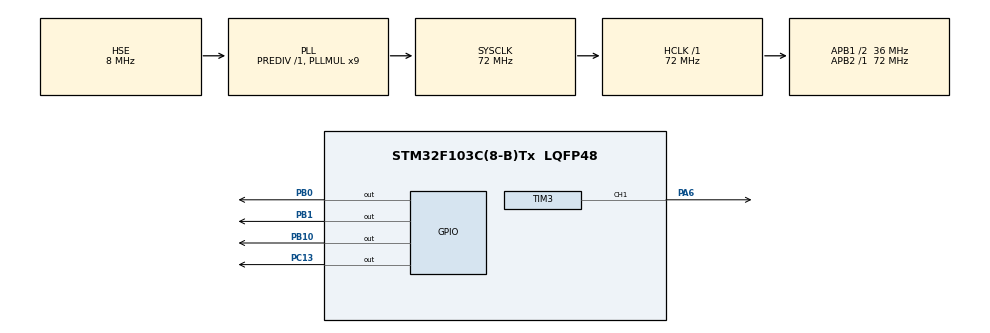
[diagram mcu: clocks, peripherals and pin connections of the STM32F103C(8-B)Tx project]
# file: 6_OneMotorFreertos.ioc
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FREERTOS.Tasks01=LedTask,8,128,Start_LedTask,Default,NULL,Dynamic,NULL,NULL;MotorTask,24,256,Start_MotorTask,Default,NULL,Dynamic,NULL,NULL;UartTask,32,256,Start_UartTask,Default,NULL,Dynamic,NULL,NULL
Mcu.Family=STM32F1
Mcu.Name=STM32F103C(8-B)Tx
Mcu.Package=LQFP48
NVIC.PriorityGroup=NVIC_PRIORITYGROUP_4
NVIC.TIM3_IRQn=true\:5\:0\:false\:false\:true\:true\:true\:true\:true
NVIC.TIM4_IRQn=true\:15\:0\:false\:false\:true\:false\:false\:true\:true
NVIC.TimeBase=TIM4_IRQn
NVIC.TimeBaseIP=TIM4
PA13.Mode=Serial_Wire
PA13.Signal=SYS_JTMS-SWDIO
PA14.Mode=Serial_Wire
PA14.Signal=SYS_JTCK-SWCLK
PA6.Signal=S_TIM3_CH1
PB0.PinState=GPIO_PIN_SET
PB0.Signal=GPIO_Output
PB1.PinState=GPIO_PIN_SET
PB1.Signal=GPIO_Output
PB10.PinState=GPIO_PIN_SET
PB10.Signal=GPIO_Output
PC13-TAMPER-RTC.PinState=GPIO_PIN_SET
PC13-TAMPER-RTC.Signal=GPIO_Output
PD0-OSC_IN.Mode=HSE-External-Oscillator
PD0-OSC_IN.Signal=RCC_OSC_IN
PD1-OSC_OUT.Mode=HSE-External-Oscillator
PD1-OSC_OUT.Signal=RCC_OSC_OUT
ProjectManager.HeapSize=0x200
ProjectManager.StackSize=0x400
ProjectManager.TargetToolchain=MDK-ARM V5.32
RCC.AHBFreq_Value=72000000
RCC.APB1CLKDivider=RCC_HCLK_DIV2
RCC.APB1Freq_Value=36000000
RCC.APB1TimFreq_Value=72000000
RCC.APB2Freq_Value=72000000
RCC.APB2TimFreq_Value=72000000
RCC.HCLKFreq_Value=72000000
RCC.PLLMUL=RCC_PLL_MUL9
RCC.PLLSourceVirtual=RCC_PLLSOURCE_HSE
RCC.SYSCLKFreq_VALUE=72000000
RCC.SYSCLKSource=RCC_SYSCLKSOURCE_PLLCLK
RCC.USBFreq_Value=72000000
SH.S_TIM3_CH1.0=TIM3_CH1,PWM Generation1 CH1
TIM3.Channel-PWM\ Generation1\ CH1=TIM_CHANNEL_1
TIM3.Period=1000-1
TIM3.Prescaler=72-1
VP_FREERTOS_VS_CMSIS_V2.Mode=CMSIS_V2
VP_SYS_VS_tim4.Mode=TIM4
board=custom

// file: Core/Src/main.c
/* USER CODE BEGIN Header */
/**
  ******************************************************************************
  * @file           : main.c
  * @brief          : Main program body
  ******************************************************************************
  * @attention
  *
  * Copyright (c) 2025 STMicroelectronics.
  * All rights reserved.
  *
  * This software is licensed under terms that can be found in the LICENSE file
  * in the root directory of this software component.
  * If no LICENSE file comes with this software, it is provided AS-IS.
  *
  ******************************************************************************
  */
/* USER CODE END Header */
#include "main.h"
#include "cmsis_os.h"
#include "tim.h"
#include "gpio.h"

/* USER CODE BEGIN Includes */

#include "motor.h"

/* USER CODE END Includes */

/* USER CODE BEGIN PV */

Motor_t motor1;

/* USER CODE END PV */

void SystemClock_Config(void);
void MX_FREERTOS_Init(void);

int main(void)
{

  /* MCU Configuration--------------------------------------------------------*/

  /* Reset of all peripherals, Initializes the Flash interface and the Systick. */
  HAL_Init();

  /* Configure the system clock */
  SystemClock_Config();

  /* Initialize all configured peripherals */
  MX_GPIO_Init();
  MX_TIM3_Init();
  /* USER CODE BEGIN 2 */

  // HAL_TIM_PWM_Start(&htim3, TIM_CHANNEL_1);

      Motor_Init(&motor1, &htim3, TIM_CHANNEL_1,
               GPIOB, GPIO_PIN_0, GPIOB, GPIO_PIN_1,
               GPIOB, GPIO_PIN_10,
               1000, 1000, 50,
               1, MOTOR_STOP_BRAKE);

  /* USER CODE END 2 */

  /* Init scheduler */
  osKernelInitialize();  /* Call init function for freertos objects (in cmsis_os2.c) */
  MX_FREERTOS_Init();

  /* Start scheduler */
  osKernelStart();

  /* We should never get here as control is now taken by the scheduler */

  /* Infinite loop */
  while (1)
  {

  }
}

void SystemClock_Config(void)
{
  RCC_OscInitTypeDef RCC_OscInitStruct = {0};
  RCC_ClkInitTypeDef RCC_ClkInitStruct = {0};

  /** Initializes the RCC Oscillators according to the specified parameters
  * in the RCC_OscInitTypeDef structure.
  */
  RCC_OscInitStruct.OscillatorType = RCC_OSCILLATORTYPE_HSE;
  RCC_OscInitStruct.HSEState = RCC_HSE_ON;
  RCC_OscInitStruct.HSEPredivValue = RCC_HSE_PREDIV_DIV1;
  RCC_OscInitStruct.HSIState = RCC_HSI_ON;
  RCC_OscInitStruct.PLL.PLLState = RCC_PLL_ON;
  RCC_OscInitStruct.PLL.PLLSource = RCC_PLLSOURCE_HSE;
  RCC_OscInitStruct.PLL.PLLMUL = RCC_PLL_MUL9;
  if (HAL_RCC_OscConfig(&RCC_OscInitStruct) != HAL_OK)
  {
    Error_Handler();
  }

  /** Initializes the CPU, AHB and APB buses clocks
  */
  RCC_ClkInitStruct.ClockType = RCC_CLOCKTYPE_HCLK|RCC_CLOCKTYPE_SYSCLK
                              |RCC_CLOCKTYPE_PCLK1|RCC_CLOCKTYPE_PCLK2;
  RCC_ClkInitStruct.SYSCLKSource = RCC_SYSCLKSOURCE_PLLCLK;
  RCC_ClkInitStruct.AHBCLKDivider = RCC_SYSCLK_DIV1;
  RCC_ClkInitStruct.APB1CLKDivider = RCC_HCLK_DIV2;
  RCC_ClkInitStruct.APB2CLKDivider = RCC_HCLK_DIV1;

  if (HAL_RCC_ClockConfig(&RCC_ClkInitStruct, FLASH_LATENCY_2) != HAL_OK)
  {
    Error_Handler();
  }
}

void HAL_TIM_PeriodElapsedCallback(TIM_HandleTypeDef *htim)
{
  if (htim->Instance == TIM4)
  {
    HAL_IncTick();
  }
}

void Error_Handler(void)
{
  __disable_irq();
  while (1)
  {
  }
}

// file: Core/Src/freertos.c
/* USER CODE BEGIN Header */
/**
  ******************************************************************************
  * File Name          : freertos.c
  * Description        : Code for freertos applications
  ******************************************************************************
  * @attention
  *
  * Copyright (c) 2025 STMicroelectronics.
  * All rights reserved.
  *
  * This software is licensed under terms that can be found in the LICENSE file
  * in the root directory of this software component.
  * If no LICENSE file comes with this software, it is provided AS-IS.
  *
  ******************************************************************************
  */
/* USER CODE END Header */

#include "FreeRTOS.h"
#include "task.h"
#include "main.h"
#include "cmsis_os.h"

/* USER CODE BEGIN Includes */

#include "motor.h"

/* USER CODE END Includes */

/* USER CODE BEGIN Variables */

extern Motor_t motor1;

/* USER CODE END Variables */
/* Definitions for LedTask */
osThreadId_t LedTaskHandle;
const osThreadAttr_t LedTask_attributes = {
  .name = "LedTask",
  .stack_size = 128 * 4,
  .priority = (osPriority_t) osPriorityLow,
};
/* Definitions for MotorTask */
osThreadId_t MotorTaskHandle;
const osThreadAttr_t MotorTask_attributes = {
  .name = "MotorTask",
  .stack_size = 256 * 4,
  .priority = (osPriority_t) osPriorityNormal,
};
/* Definitions for UartTask */
osThreadId_t UartTaskHandle;
const osThreadAttr_t UartTask_attributes = {
  .name = "UartTask",
  .stack_size = 256 * 4,
  .priority = (osPriority_t) osPriorityAboveNormal,
};

void Start_LedTask(void *argument);
void Start_MotorTask(void *argument);
void Start_UartTask(void *argument);

void MX_FREERTOS_Init(void); /* (MISRA C 2004 rule 8.1) */

void MX_FREERTOS_Init(void) {

  /* Create the thread(s) */
  /* creation of LedTask */
  LedTaskHandle = osThreadNew(Start_LedTask, NULL, &LedTask_attributes);

  /* creation of MotorTask */
  MotorTaskHandle = osThreadNew(Start_MotorTask, NULL, &MotorTask_attributes);

  /* creation of UartTask */
  UartTaskHandle = osThreadNew(Start_UartTask, NULL, &UartTask_attributes);

}

void Start_LedTask(void *argument)
{
  /* USER CODE BEGIN Start_LedTask */
  /* Infinite loop */
  for(;;)
  {
    // HAL_GPIO_TogglePin(GPIOC, GPIO_PIN_13);
    // osDelay(200);
    osDelay(1);
  }
  /* USER CODE END Start_LedTask */
}

void Start_MotorTask(void *argument)
{
  /* USER CODE BEGIN Start_MotorTask */
  /* Infinite loop */
  for(;;)
  {
    //     HAL_GPIO_TogglePin(GPIOB, GPIO_PIN_0);
    // HAL_GPIO_TogglePin(GPIOB, GPIO_PIN_1);
    Motor_SetSpeed(&motor1, 800);
    HAL_GPIO_TogglePin(GPIOC, GPIO_PIN_13);
    osDelay(500);

    Motor_SetSpeed(&motor1, -500);
    HAL_GPIO_TogglePin(GPIOC, GPIO_PIN_13);
    osDelay(500);

    Motor_Stop(&motor1);
    HAL_GPIO_TogglePin(GPIOC, GPIO_PIN_13);
    osDelay(500);

    osDelay(1);
  }
  /* USER CODE END Start_MotorTask */
}

void Start_UartTask(void *argument)
{
  for(;;)
  {
    osDelay(1);
  }
}
